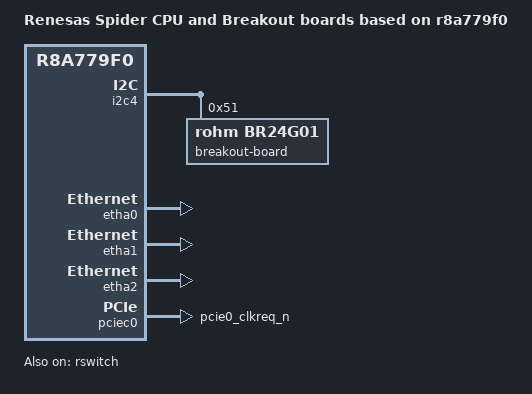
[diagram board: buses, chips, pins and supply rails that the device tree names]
// SPDX-License-Identifier: GPL-2.0
/*
 * Device Tree Source for the Spider CPU and Breakout boards
 *
 * Copyright (C) 2021 Renesas Electronics Corp.
 */

/dts-v1/;
#include "r8a779f0-spider-cpu.dtsi"
#include "r8a779f0-spider-ethernet.dtsi"

/ {
	model = "Renesas Spider CPU and Breakout boards based on r8a779f0";
	compatible = "renesas,spider-breakout", "renesas,spider-cpu", "renesas,r8a779f0";

	aliases {
		eth0 = &rswitch;
		};
};

&i2c4 {
	eeprom@51 {
		compatible = "rohm,br24g01", "atmel,24c01";
		label = "breakout-board";
		reg = <0x51>;
		pagesize = <8>;
	};
};

&pfc {
	tsn0_pins: tsn0 {
		mux {
			groups = "tsn0_link", "tsn0_mdio";
			function = "tsn0";
			drive-strength = <18>;
			power-source = <1800>;
		};

		pins_mdio {
			groups = "tsn0_mdio";
			drive-strength = <18>;
			power-source = <1800>;
		};
	};

	tsn1_pins: tsn1 {
		mux {
			groups = "tsn1_link", "tsn1_mdio";
			function = "tsn1";
			drive-strength = <18>;
			power-source = <1800>;
		};

		pins_mdio {
			groups = "tsn1_mdio";
			drive-strength = <18>;
			power-source = <1800>;
		};
	};

	tsn2_pins: tsn2 {
		mux {
			groups = "tsn2_link", "tsn2_mdio";
			function = "tsn2";
			drive-strength = <18>;
			power-source = <1800>;
		};

		pins_mdio {
			groups = "tsn2_mdio";
			drive-strength = <18>;
			power-source = <1800>;
		};
	};

	pcie0_pins: pcie0 {
		groups = "pcie0_clkreq_n";
		function = "pcie";
	};

	pcie1_pins: pcie1 {
		groups = "pcie1_clkreq_n";
		function = "pcie";
	};

	taud0_pwm_pins: taud0_pwm {
		groups = "taud0_pwm1", "taud0_pwm2";
		function = "taud0_pwm";
	};
};

&rswitch {
	status = "okay";
	pinctrl-0 = <&tsn0_pins &tsn1_pins &tsn2_pins>;
	pinctrl-names = "default";
	#address-cells = <1>;
	#size-cells = <0>;

	ports {
		#address-cells = <1>;
		#size-cells = <0>;
		port@0 {
			reg = <0>;
			phy-handle = <&etha0>;
			#address-cells = <1>;
			#size-cells = <0>;
			etha0: ethernet-phy@0 {
				reg = <1>;
				compatible = "ethernet-phy-ieee802.3-c45";
			};
		};
		port@1 {
			reg = <1>;
			phy-handle = <&etha1>;
			#address-cells = <1>;
			#size-cells = <0>;
			etha1: ethernet-phy@1 {
				reg = <2>;
				compatible = "ethernet-phy-ieee802.3-c45";
			};
		};
		port@2 {
			reg = <2>;
			phy-handle = <&etha2>;
			#address-cells = <1>;
			#size-cells = <0>;
			etha2: ethernet-phy@2 {
				reg = <3>;
				compatible = "ethernet-phy-ieee802.3-c45";
			};
		};
	};
};

&pcie_bus_clk {
	clock-frequency = <100000000>;
};

&pciec0 {
	status = "okay";
	pinctrl-0 = <&pcie0_pins>;
	pinctrl-names = "default";
};

&pciec0_ep {
	status = "disabled";
	pinctrl-0 = <&pcie0_pins>;
	pinctrl-names = "default";
};

&pciec1 {
	status = "disabled";
	pinctrl-0 = <&pcie1_pins>;
	pinctrl-names = "default";
};

&pciec1_ep {
	status = "disabled";
	pinctrl-0 = <&pcie1_pins>;
	pinctrl-names = "default";
};

&tau_pwm0 {
	pinctrl-0 = <&taud0_pwm_pins>;
	pinctrl-names = "default";

	status = "disable";
};

&gpio4 {
	status = "disable";
};
